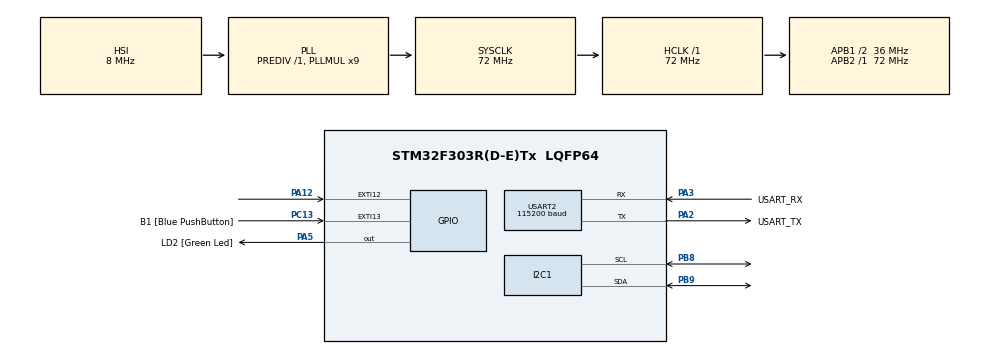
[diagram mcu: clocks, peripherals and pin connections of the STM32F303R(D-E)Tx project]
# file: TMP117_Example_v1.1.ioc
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I2C1.Timing=0x00201D2B
Mcu.Family=STM32F3
Mcu.Name=STM32F303R(D-E)Tx
Mcu.Package=LQFP64
NVIC.EXTI15_10_IRQn=true\:0\:0\:false\:false\:true\:true\:true\:true
NVIC.PriorityGroup=NVIC_PRIORITYGROUP_0
PA12.Signal=GPXTI12
PA13.GPIO_Label=TMS
PA13.Mode=Serial_Wire
PA13.Signal=SYS_JTMS-SWDIO
PA14.GPIO_Label=TCK
PA14.Mode=Serial_Wire
PA14.Signal=SYS_JTCK-SWCLK
PA2.GPIO_Label=USART_TX
PA2.GPIO_Mode=GPIO_MODE_AF_PP
PA2.GPIO_PuPd=GPIO_NOPULL
PA2.GPIO_Speed=GPIO_SPEED_FREQ_LOW
PA2.Mode=Asynchronous
PA2.Signal=USART2_TX
PA3.GPIO_Label=USART_RX
PA3.GPIO_Mode=GPIO_MODE_AF_PP
PA3.GPIO_PuPd=GPIO_NOPULL
PA3.GPIO_Speed=GPIO_SPEED_FREQ_LOW
PA3.Mode=Asynchronous
PA3.Signal=USART2_RX
PA5.GPIO_Label=LD2 [Green Led]
PA5.GPIO_Mode=GPIO_MODE_OUTPUT_PP
PA5.GPIO_PuPd=GPIO_NOPULL
PA5.GPIO_Speed=GPIO_SPEED_FREQ_LOW
PA5.Signal=GPIO_Output
PB3.GPIO_Label=SWO
PB3.Signal=SYS_JTDO-TRACESWO
PB8.Mode=I2C
PB8.Signal=I2C1_SCL
PB9.Mode=I2C
PB9.Signal=I2C1_SDA
PC13.GPIO_Label=B1 [Blue PushButton]
PC13.GPIO_ModeDefaultEXTI=GPIO_MODE_IT_FALLING
PC13.Signal=GPXTI13
PC14-OSC32_IN.Mode=LSE-External-Oscillator
PC14-OSC32_IN.Signal=RCC_OSC32_IN
PC15-OSC32_OUT.Mode=LSE-External-Oscillator
PC15-OSC32_OUT.Signal=RCC_OSC32_OUT
PF0-OSC_IN.Mode=HSE-External-Clock-Source
PF0-OSC_IN.Signal=RCC_OSC_IN
PF1-OSC_OUT.Signal=RCC_OSC_OUT
ProjectManager.HeapSize=0x200
ProjectManager.StackSize=0x400
ProjectManager.TargetToolchain=STM32CubeIDE
RCC.AHBFreq_Value=72000000
RCC.APB1CLKDivider=RCC_HCLK_DIV2
RCC.APB1Freq_Value=36000000
RCC.APB1TimFreq_Value=72000000
RCC.APB2Freq_Value=72000000
RCC.APB2TimFreq_Value=72000000
RCC.CortexFreq_Value=72000000
RCC.HCLKFreq_Value=72000000
RCC.HSE_VALUE=8000000
RCC.HSI_VALUE=8000000
RCC.PLLM=8
RCC.PLLMUL=RCC_PLL_MUL9
RCC.PLLN=336
RCC.PLLP=RCC_PLLP_DIV4
RCC.PLLQ=7
RCC.RCC_PLLsource_Clock_Source_FROM_HSE=RCC_HSE_PREDIV_DIV2
RCC.SYSCLKFreq_VALUE=72000000
RCC.SYSCLKSourceVirtual=RCC_SYSCLKSOURCE_PLLCLK
RCC.USBFreq_Value=72000000
USART2.BaudRate=115200
USART2.VirtualMode-Asynchronous=VM_ASYNC
board=NUCLEO-F303RE

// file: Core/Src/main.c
/* USER CODE BEGIN Header */
/**
  ******************************************************************************
  * @file           : main.c
  * @brief          : Main program body
  ******************************************************************************
  * @attention
  *
  * Copyright (c) 2025 STMicroelectronics.
  * All rights reserved.
  *
  * This software is licensed under terms that can be found in the LICENSE file
  * in the root directory of this software component.
  * If no LICENSE file comes with this software, it is provided AS-IS.
  *
  ******************************************************************************
  */
/* USER CODE END Header */
#include "main.h"

/* USER CODE BEGIN Includes */
#include <TMP117.h>
#include <stdio.h>
#include <string.h>
/* USER CODE END Includes */

/* USER CODE BEGIN PTD */
TMP117_HandleTypeDef tmp117;
/* USER CODE END PTD */

I2C_HandleTypeDef hi2c1;

UART_HandleTypeDef huart2;

/* USER CODE BEGIN PV */
static _Bool measurementReadyFlag = 0;
static double temperature 		  = 0.0;
char msg[50];
/* USER CODE END PV */

void SystemClock_Config(void);
static void MX_GPIO_Init(void);
static void MX_USART2_UART_Init(void);
static void MX_I2C1_Init(void);

int main(void)
{

  /* MCU Configuration--------------------------------------------------------*/

  /* Reset of all peripherals, Initializes the Flash interface and the Systick. */
  HAL_Init();

  /* Configure the system clock */
  SystemClock_Config();

  /* Initialize all configured peripherals */
  MX_GPIO_Init();
  MX_USART2_UART_Init();
  MX_I2C1_Init();
  /* USER CODE BEGIN 2 */
  TMP117_Init(&tmp117, &hi2c1);
  /* USER CODE END 2 */

  /* Infinite loop */
  /* USER CODE BEGIN WHILE */
  while (1)
  {
	  if (measurementReadyFlag)
	  {
		  temperature = TMP117_GetTemperatureCelsius(&tmp117);
		  sprintf(msg, "Temperature = %.2f \r\n", temperature);
		  HAL_UART_Transmit(&huart2, (uint8_t *)msg, strlen(msg), HAL_MAX_DELAY);

		  measurementReadyFlag = 0;
	  }
    /* USER CODE END WHILE */

  }
}

void SystemClock_Config(void)
{
  RCC_OscInitTypeDef RCC_OscInitStruct = {0};
  RCC_ClkInitTypeDef RCC_ClkInitStruct = {0};
  RCC_PeriphCLKInitTypeDef PeriphClkInit = {0};

  /** Initializes the RCC Oscillators according to the specified parameters
  * in the RCC_OscInitTypeDef structure.
  */
  RCC_OscInitStruct.OscillatorType = RCC_OSCILLATORTYPE_HSI;
  RCC_OscInitStruct.HSIState = RCC_HSI_ON;
  RCC_OscInitStruct.HSICalibrationValue = RCC_HSICALIBRATION_DEFAULT;
  RCC_OscInitStruct.PLL.PLLState = RCC_PLL_ON;
  RCC_OscInitStruct.PLL.PLLSource = RCC_PLLSOURCE_HSI;
  RCC_OscInitStruct.PLL.PLLMUL = RCC_PLL_MUL9;
  RCC_OscInitStruct.PLL.PREDIV = RCC_PREDIV_DIV1;
  if (HAL_RCC_OscConfig(&RCC_OscInitStruct) != HAL_OK)
  {
    Error_Handler();
  }

  /** Initializes the CPU, AHB and APB buses clocks
  */
  RCC_ClkInitStruct.ClockType = RCC_CLOCKTYPE_HCLK|RCC_CLOCKTYPE_SYSCLK
                              |RCC_CLOCKTYPE_PCLK1|RCC_CLOCKTYPE_PCLK2;
  RCC_ClkInitStruct.SYSCLKSource = RCC_SYSCLKSOURCE_PLLCLK;
  RCC_ClkInitStruct.AHBCLKDivider = RCC_SYSCLK_DIV1;
  RCC_ClkInitStruct.APB1CLKDivider = RCC_HCLK_DIV2;
  RCC_ClkInitStruct.APB2CLKDivider = RCC_HCLK_DIV1;

  if (HAL_RCC_ClockConfig(&RCC_ClkInitStruct, FLASH_LATENCY_2) != HAL_OK)
  {
    Error_Handler();
  }
  PeriphClkInit.PeriphClockSelection = RCC_PERIPHCLK_USART2|RCC_PERIPHCLK_I2C1;
  PeriphClkInit.Usart2ClockSelection = RCC_USART2CLKSOURCE_PCLK1;
  PeriphClkInit.I2c1ClockSelection = RCC_I2C1CLKSOURCE_HSI;
  if (HAL_RCCEx_PeriphCLKConfig(&PeriphClkInit) != HAL_OK)
  {
    Error_Handler();
  }
}

static void MX_I2C1_Init(void)
{

  hi2c1.Instance = I2C1;
  hi2c1.Init.Timing = 0x00201D2B;
  hi2c1.Init.OwnAddress1 = 0;
  hi2c1.Init.AddressingMode = I2C_ADDRESSINGMODE_7BIT;
  hi2c1.Init.DualAddressMode = I2C_DUALADDRESS_DISABLE;
  hi2c1.Init.OwnAddress2 = 0;
  hi2c1.Init.OwnAddress2Masks = I2C_OA2_NOMASK;
  hi2c1.Init.GeneralCallMode = I2C_GENERALCALL_DISABLE;
  hi2c1.Init.NoStretchMode = I2C_NOSTRETCH_DISABLE;
  if (HAL_I2C_Init(&hi2c1) != HAL_OK)
  {
    Error_Handler();
  }

  /** Configure Analogue filter
  */
  if (HAL_I2CEx_ConfigAnalogFilter(&hi2c1, I2C_ANALOGFILTER_ENABLE) != HAL_OK)
  {
    Error_Handler();
  }

  /** Configure Digital filter
  */
  if (HAL_I2CEx_ConfigDigitalFilter(&hi2c1, 0) != HAL_OK)
  {
    Error_Handler();
  }

}

static void MX_USART2_UART_Init(void)
{

  huart2.Instance = USART2;
  huart2.Init.BaudRate = 115200;
  huart2.Init.WordLength = UART_WORDLENGTH_8B;
  huart2.Init.StopBits = UART_STOPBITS_1;
  huart2.Init.Parity = UART_PARITY_NONE;
  huart2.Init.Mode = UART_MODE_TX_RX;
  huart2.Init.HwFlowCtl = UART_HWCONTROL_NONE;
  huart2.Init.OverSampling = UART_OVERSAMPLING_16;
  huart2.Init.OneBitSampling = UART_ONE_BIT_SAMPLE_DISABLE;
  huart2.AdvancedInit.AdvFeatureInit = UART_ADVFEATURE_NO_INIT;
  if (HAL_UART_Init(&huart2) != HAL_OK)
  {
    Error_Handler();
  }

}

static void MX_GPIO_Init(void)
{
  GPIO_InitTypeDef GPIO_InitStruct = {0};

  /* GPIO Ports Clock Enable */
  __HAL_RCC_GPIOC_CLK_ENABLE();
  __HAL_RCC_GPIOF_CLK_ENABLE();
  __HAL_RCC_GPIOA_CLK_ENABLE();
  __HAL_RCC_GPIOB_CLK_ENABLE();

  /*Configure GPIO pin Output Level */
  HAL_GPIO_WritePin(LD2_GPIO_Port, LD2_Pin, GPIO_PIN_RESET);

  /*Configure GPIO pin : B1_Pin */
  GPIO_InitStruct.Pin = B1_Pin;
  GPIO_InitStruct.Mode = GPIO_MODE_IT_FALLING;
  GPIO_InitStruct.Pull = GPIO_NOPULL;
  HAL_GPIO_Init(B1_GPIO_Port, &GPIO_InitStruct);

  /*Configure GPIO pin : LD2_Pin */
  GPIO_InitStruct.Pin = LD2_Pin;
  GPIO_InitStruct.Mode = GPIO_MODE_OUTPUT_PP;
  GPIO_InitStruct.Pull = GPIO_NOPULL;
  GPIO_InitStruct.Speed = GPIO_SPEED_FREQ_LOW;
  HAL_GPIO_Init(LD2_GPIO_Port, &GPIO_InitStruct);

  /*Configure GPIO pin : PA12 */
  GPIO_InitStruct.Pin = GPIO_PIN_12;
  GPIO_InitStruct.Mode = GPIO_MODE_IT_RISING;
  GPIO_InitStruct.Pull = GPIO_NOPULL;
  HAL_GPIO_Init(GPIOA, &GPIO_InitStruct);

  /* EXTI interrupt init*/
  HAL_NVIC_SetPriority(EXTI15_10_IRQn, 0, 0);
  HAL_NVIC_EnableIRQ(EXTI15_10_IRQn);

}

/* USER CODE BEGIN 4 */
void HAL_GPIO_EXTI_Callback(uint16_t GPIO_Pin)
{
	if (GPIO_Pin == GPIO_PIN_12)
	{
		measurementReadyFlag = 1;
	}
}
/* USER CODE END 4 */

void Error_Handler(void)
{
  __disable_irq();
  while (1)
  {
  }
}
